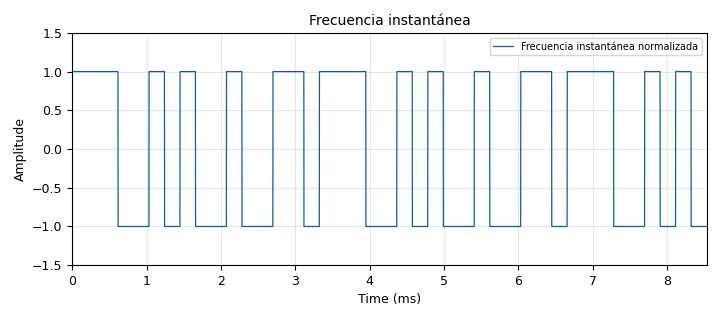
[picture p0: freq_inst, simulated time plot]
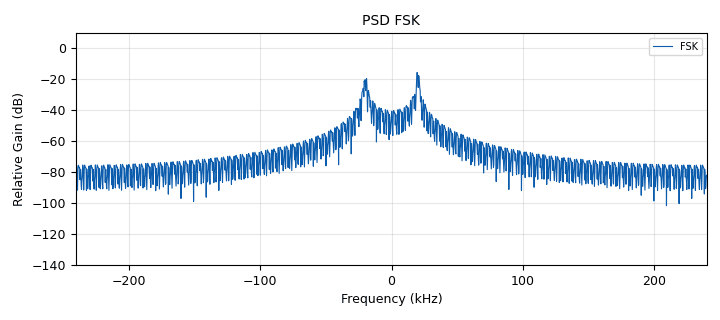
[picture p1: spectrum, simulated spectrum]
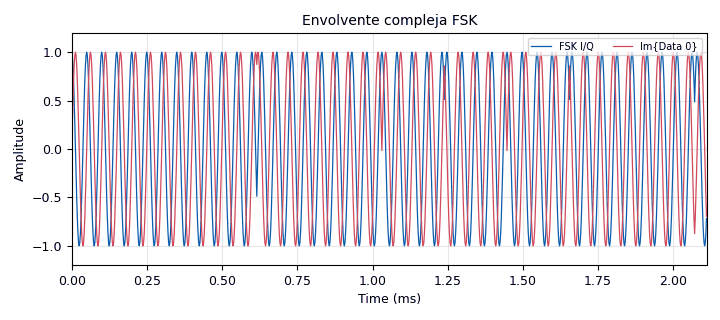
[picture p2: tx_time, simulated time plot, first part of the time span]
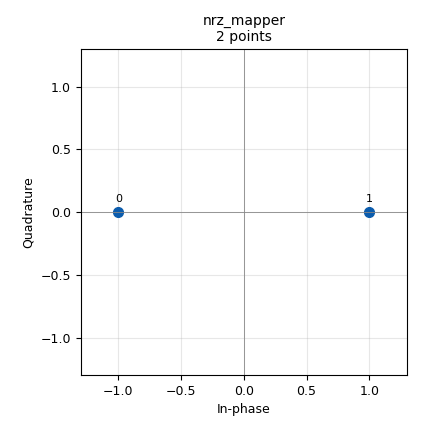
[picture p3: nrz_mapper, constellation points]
options:
  parameters:
    comment: 'FSK conceptual: envolvente compleja, PSD y frecuencia instantanea'
    description: 'FSK conceptual: envolvente compleja, PSD y frecuencia instantanea'
    generate_options: qt_gui
    id: Modulacion_FSK
    output_language: python
    title: Modulacion_FSK
  states: {}

blocks:
- name: fsk_deviation
  id: variable_qtgui_range
  parameters:
    label: Desviación FSK (Hz)
    start: '5000'
    step: '1000'
    stop: '100000'
    value: '20000'
  states: {}
- name: samp_rate
  id: variable
  parameters:
    comment: |-
      Fase 1 (E1): Rb = 4.8 kbps
      samp_rate = Rb*sps = 4800*100
    value: 480e3
  states: {}
- name: sps
  id: variable
  parameters:
    value: '100'
  states: {}
- name: symbol_rate
  id: variable
  parameters:
    value: samp_rate/sps
  states: {}
- name: Rb
  id: variable_qtgui_label
  parameters:
    label: Rb (bps)
    type: real
    value: symbol_rate
  states: {}
- name: h_mod
  id: variable_qtgui_label
  parameters:
    label: Indice de modulacion h = 2*df/Rb
    type: real
    value: 2*fsk_deviation/symbol_rate
  states: {}
- name: B_carson
  id: variable_qtgui_label
  parameters:
    label: Ancho de banda Carson (Hz)
    type: real
    value: 2*(fsk_deviation+symbol_rate)
  states: {}
- name: bit_source
  id: blocks_vector_source_x
  parameters:
    repeat: 'True'
    type: byte
    vector: '[0,1,0,0,1,1,0,1,1,1,0,0,1,0,1,0]'
  states: {}
- name: freq_inst
  id: qtgui_time_sink_x
  parameters:
    grid: 'True'
    label1: Frecuencia instantánea normalizada
    name: '"Frecuencia instantánea"'
    size: '4096'
    srate: samp_rate
    type: float
    ymax: '1.5'
    ymin: '-1.5'
  states: {}
- name: fsk_demod
  id: analog_quadrature_demod_cf
  parameters:
    gain: samp_rate/(2*math.pi*fsk_deviation)
  states: {}
- name: fsk_modulator
  id: analog_frequency_modulator_fc
  parameters:
    sensitivity: 2*math.pi*fsk_deviation/samp_rate
  states: {}
- name: nrz_mapper
  id: digital_chunks_to_symbols_xx
  parameters:
    dimension: '1'
    in_type: byte
    out_type: float
    symbol_table: '[-1.0, 1.0]'
  states: {}
- name: spectrum
  id: qtgui_freq_sink_x
  parameters:
    bw: samp_rate
    fc: '0'
    fftsize: '2048'
    grid: 'True'
    label1: FSK
    name: '"PSD FSK"'
    type: complex
  states: {}
- name: symbol_repeat
  id: blocks_repeat
  parameters:
    interp: sps
    type: float
  states: {}
- name: throttle
  id: blocks_throttle2
  parameters:
    samples_per_second: samp_rate
    type: complex
  states: {}
- name: tx_time
  id: qtgui_time_sink_x
  parameters:
    grid: 'True'
    label1: FSK I/Q
    label2: ''
    name: '"Envolvente compleja FSK"'
    size: '4096'
    srate: samp_rate
    type: complex
    ymax: '1.2'
    ymin: '-1.2'
  states: {}

connections:
- [bit_source, '0', nrz_mapper, '0']
- [fsk_demod, '0', freq_inst, '0']
- [fsk_modulator, '0', throttle, '0']
- [nrz_mapper, '0', symbol_repeat, '0']
- [symbol_repeat, '0', fsk_modulator, '0']
- [throttle, '0', fsk_demod, '0']
- [throttle, '0', spectrum, '0']
- [throttle, '0', tx_time, '0']

metadata:
  file_format: 1
  grc_version: 3.10.12.0
